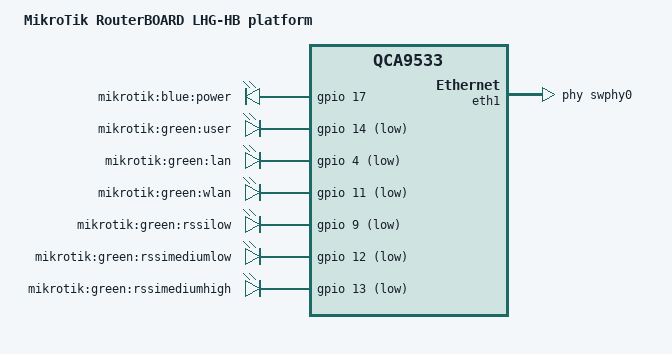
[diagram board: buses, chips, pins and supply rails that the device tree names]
// SPDX-License-Identifier: GPL-2.0-or-later OR MIT

#include "qca9533_mikrotik_routerboard-16m.dtsi"

/ {
	compatible = "mikrotik,routerboard-lhg-hb", "qca,qca9533";
	model = "MikroTik RouterBOARD LHG-HB platform";

	aliases {
		led-boot = &led_user;
		led-failsafe = &led_user;
		led-upgrade = &led_user;
		led-running = &led_user;
		serial0 = &uart;
	};

	leds {
		compatible = "gpio-leds";
		pinctrl-names = "default";
		pinctrl-0 = <&led_wan_pin>;

		power {
			label = "mikrotik:blue:power";
			gpios = <&gpio 17 GPIO_ACTIVE_HIGH>;
			default-state = "on";
		};

		led_user: user {
			label = "mikrotik:green:user";
			gpios = <&gpio 14 GPIO_ACTIVE_LOW>;
		};

		lan {
			label = "mikrotik:green:lan";
			gpios = <&gpio 4 GPIO_ACTIVE_LOW>;
		};

		wlan {
			label = "mikrotik:green:wlan";
			gpios = <&gpio 11 GPIO_ACTIVE_LOW>;
			linux,default-trigger = "phy0tpt";
		};

		rssilow {
			label = "mikrotik:green:rssilow";
			gpios = <&gpio 9 GPIO_ACTIVE_LOW>;
		};

		rssimediumlow {
			label = "mikrotik:green:rssimediumlow";
			gpios = <&gpio 12 GPIO_ACTIVE_LOW>;
		};

		rssimediumhigh {
			label = "mikrotik:green:rssimediumhigh";
			gpios = <&gpio 13 GPIO_ACTIVE_LOW>;
		};

		/* The rssihigh LED GPIO 16 is shared with the reset button, so it remains
		unregistered here to avoid conflict.

		rssihigh {
			label = "mikrotik:green:rssihigh";
			gpios = <&gpio 16 GPIO_ACTIVE_LOW>;
		};
		*/
	};
};

&eth0 {
	compatible = "syscon", "simple-mfd";
};

&eth1 {
	status = "okay";

	phy-handle = <&swphy0>;

	gmac-config {
		device = <&gmac>;
	};
};

&pinmux {
	led_wan_pin: pinmux_led_wan_pin {
		pinctrl-single,bits = <0x4 0x0 0xff>;
	};
};
